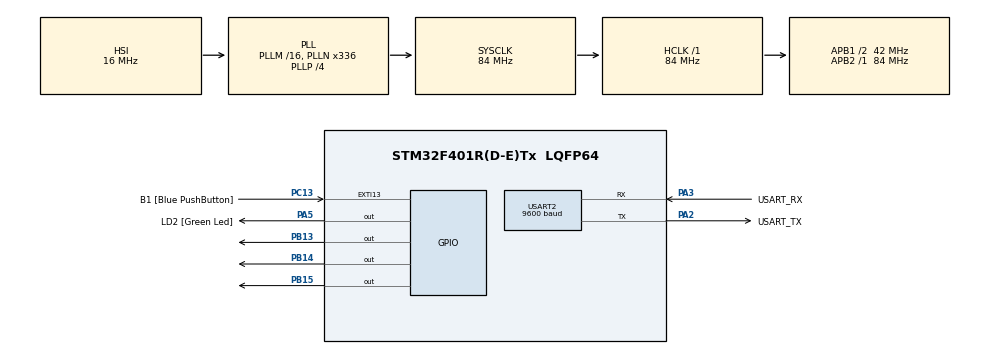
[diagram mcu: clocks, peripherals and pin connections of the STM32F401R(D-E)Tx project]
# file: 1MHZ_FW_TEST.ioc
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Mcu.Family=STM32F4
Mcu.Name=STM32F401R(D-E)Tx
Mcu.Package=LQFP64
NVIC.PriorityGroup=NVIC_PRIORITYGROUP_4
NVIC.USART2_IRQn=true\:0\:0\:false\:false\:true\:true\:true\:true
PA13.GPIO_Label=TMS
PA13.Mode=Trace_Asynchronous_SW
PA13.Signal=SYS_JTMS-SWDIO
PA14.GPIO_Label=TCK
PA14.Mode=Trace_Asynchronous_SW
PA14.Signal=SYS_JTCK-SWCLK
PA2.GPIO_Label=USART_TX
PA2.GPIO_Mode=GPIO_MODE_AF_PP
PA2.GPIO_PuPd=GPIO_NOPULL
PA2.GPIO_Speed=GPIO_SPEED_FREQ_LOW
PA2.Mode=Asynchronous
PA2.Signal=USART2_TX
PA3.GPIO_Label=USART_RX
PA3.GPIO_Mode=GPIO_MODE_AF_PP
PA3.GPIO_PuPd=GPIO_NOPULL
PA3.GPIO_Speed=GPIO_SPEED_FREQ_LOW
PA3.Mode=Asynchronous
PA3.Signal=USART2_RX
PA5.GPIO_Label=LD2 [Green Led]
PA5.GPIO_Mode=GPIO_MODE_OUTPUT_PP
PA5.GPIO_PuPd=GPIO_NOPULL
PA5.GPIO_Speed=GPIO_SPEED_FREQ_LOW
PA5.Signal=GPIO_Output
PB13.Signal=GPIO_Output
PB14.Signal=GPIO_Output
PB15.Signal=GPIO_Output
PB3.GPIO_Label=SWO
PB3.Mode=Trace_Asynchronous_SW
PB3.Signal=SYS_JTDO-SWO
PC13-ANTI_TAMP.GPIO_Label=B1 [Blue PushButton]
PC13-ANTI_TAMP.GPIO_ModeDefaultEXTI=GPIO_MODE_IT_FALLING
PC13-ANTI_TAMP.GPIO_PuPd=GPIO_NOPULL
PC13-ANTI_TAMP.Signal=GPXTI13
PC14-OSC32_IN.Mode=LSE-External-Oscillator
PC14-OSC32_IN.Signal=RCC_OSC32_IN
PC15-OSC32_OUT.Mode=LSE-External-Oscillator
PC15-OSC32_OUT.Signal=RCC_OSC32_OUT
PH0\ -\ OSC_IN.Mode=HSE-External-Clock-Source
PH0\ -\ OSC_IN.Signal=RCC_OSC_IN
PH1\ -\ OSC_OUT.Mode=HSE-External-Clock-Source
PH1\ -\ OSC_OUT.Signal=RCC_OSC_OUT
ProjectManager.HeapSize=0x200
ProjectManager.StackSize=0x400
ProjectManager.TargetToolchain=STM32CubeIDE
RCC.48MHZClocksFreq_Value=48000000
RCC.AHBFreq_Value=84000000
RCC.APB1CLKDivider=RCC_HCLK_DIV2
RCC.APB1Freq_Value=42000000
RCC.APB1TimFreq_Value=84000000
RCC.APB2Freq_Value=84000000
RCC.APB2TimFreq_Value=84000000
RCC.CortexFreq_Value=84000000
RCC.HCLKFreq_Value=84000000
RCC.HSE_VALUE=8000000
RCC.HSI_VALUE=16000000
RCC.PLLN=336
RCC.PLLP=RCC_PLLP_DIV4
RCC.PLLQ=7
RCC.SYSCLKFreq_VALUE=84000000
RCC.SYSCLKSource=RCC_SYSCLKSOURCE_PLLCLK
RCC.VCOOutputFreq_Value=336000000
USART2.BaudRate=9600
USART2.VirtualMode=VM_ASYNC
board=NUCLEO-F401RE

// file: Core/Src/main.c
/* USER CODE BEGIN Header */
/**
  ******************************************************************************
  * @file           : main.c
  * @brief          : Main program body
  ******************************************************************************
  * @attention
  *
  * Copyright (c) 2025 STMicroelectronics.
  * All rights reserved.
  *
  * This software is licensed under terms that can be found in the LICENSE file
  * in the root directory of this software component.
  * If no LICENSE file comes with this software, it is provided AS-IS.
  *
  ******************************************************************************
  */
/* USER CODE END Header */
#include "main.h"

/* USER CODE BEGIN Includes */
#include "AD9833.h"
#include "string.h"
#include <stdlib.h>
#include <stdio.h>
/* USER CODE END Includes */

UART_HandleTypeDef huart2;

/* USER CODE BEGIN PV */

uint8_t rx_data[1];        // buffer temporal de recepción
uint8_t rx_buffer[32];     // buffer donde vamos acumulando
uint8_t rx_index = 0;      // índice de escritura
uint8_t final_data[32];
int change_frequency = 0;
float final_freq = 0.0;
char buffer[50];
/* USER CODE END PV */

void SystemClock_Config(void);
static void MX_GPIO_Init(void);
static void MX_USART2_UART_Init(void);
/* USER CODE BEGIN PFP */
void HAL_UART_RxCpltCallback(UART_HandleTypeDef *huart)
{
    if (huart->Instance == USART2)  // <- MUY IMPORTANTE
    {
    	memcpy(rx_buffer+rx_index,rx_data,1);
    	rx_index++;
    	if(rx_index >=sizeof(rx_buffer)) rx_index=0;
    	change_frequency=1;
        HAL_UART_Receive_IT(&huart2, rx_data, 1);  // volver a activar recepción
    }
}
/* USER CODE END PFP */

int main(void)
{

  /* MCU Configuration--------------------------------------------------------*/

  /* Reset of all peripherals, Initializes the Flash interface and the Systick. */
  HAL_Init();

  /* Configure the system clock */
  SystemClock_Config();

  /* Initialize all configured peripherals */
  MX_GPIO_Init();
  MX_USART2_UART_Init();
  /* USER CODE BEGIN 2 */

  HAL_UART_Receive_IT(&huart2, rx_data, 1);

  AD9833_Init(SQR, 1000.0, 0.0);
  /* USER CODE END 2 */

  /* Infinite loop */
  while (1)
  {
	  if(rx_data[0]=='\n'){
		  final_data[0]='\0';
		  memcpy(final_data,rx_buffer,rx_index);
		  final_freq = atof((char (*)) final_data);
		  sprintf(buffer, "Freq: %.f Hz\r\n", final_freq);
		  HAL_UART_Transmit(&huart2, (uint8_t*)buffer, strlen(buffer), HAL_MAX_DELAY);
		  HAL_UART_Transmit(&huart2, final_data, sizeof(final_data), 100);
		  rx_data[0]='\0';
	  }
  }
}

void SystemClock_Config(void)
{
  RCC_OscInitTypeDef RCC_OscInitStruct = {0};
  RCC_ClkInitTypeDef RCC_ClkInitStruct = {0};

  /** Configure the main internal regulator output voltage
  */
  __HAL_RCC_PWR_CLK_ENABLE();
  __HAL_PWR_VOLTAGESCALING_CONFIG(PWR_REGULATOR_VOLTAGE_SCALE2);

  /** Initializes the RCC Oscillators according to the specified parameters
  * in the RCC_OscInitTypeDef structure.
  */
  RCC_OscInitStruct.OscillatorType = RCC_OSCILLATORTYPE_HSI;
  RCC_OscInitStruct.HSIState = RCC_HSI_ON;
  RCC_OscInitStruct.HSICalibrationValue = RCC_HSICALIBRATION_DEFAULT;
  RCC_OscInitStruct.PLL.PLLState = RCC_PLL_ON;
  RCC_OscInitStruct.PLL.PLLSource = RCC_PLLSOURCE_HSI;
  RCC_OscInitStruct.PLL.PLLM = 16;
  RCC_OscInitStruct.PLL.PLLN = 336;
  RCC_OscInitStruct.PLL.PLLP = RCC_PLLP_DIV4;
  RCC_OscInitStruct.PLL.PLLQ = 7;
  if (HAL_RCC_OscConfig(&RCC_OscInitStruct) != HAL_OK)
  {
    Error_Handler();
  }

  /** Initializes the CPU, AHB and APB buses clocks
  */
  RCC_ClkInitStruct.ClockType = RCC_CLOCKTYPE_HCLK|RCC_CLOCKTYPE_SYSCLK
                              |RCC_CLOCKTYPE_PCLK1|RCC_CLOCKTYPE_PCLK2;
  RCC_ClkInitStruct.SYSCLKSource = RCC_SYSCLKSOURCE_PLLCLK;
  RCC_ClkInitStruct.AHBCLKDivider = RCC_SYSCLK_DIV1;
  RCC_ClkInitStruct.APB1CLKDivider = RCC_HCLK_DIV2;
  RCC_ClkInitStruct.APB2CLKDivider = RCC_HCLK_DIV1;

  if (HAL_RCC_ClockConfig(&RCC_ClkInitStruct, FLASH_LATENCY_2) != HAL_OK)
  {
    Error_Handler();
  }
}

static void MX_USART2_UART_Init(void)
{

  huart2.Instance = USART2;
  huart2.Init.BaudRate = 9600;
  huart2.Init.WordLength = UART_WORDLENGTH_8B;
  huart2.Init.StopBits = UART_STOPBITS_1;
  huart2.Init.Parity = UART_PARITY_NONE;
  huart2.Init.Mode = UART_MODE_TX_RX;
  huart2.Init.HwFlowCtl = UART_HWCONTROL_NONE;
  huart2.Init.OverSampling = UART_OVERSAMPLING_16;
  if (HAL_UART_Init(&huart2) != HAL_OK)
  {
    Error_Handler();
  }

}

static void MX_GPIO_Init(void)
{
  GPIO_InitTypeDef GPIO_InitStruct = {0};

  /* GPIO Ports Clock Enable */
  __HAL_RCC_GPIOC_CLK_ENABLE();
  __HAL_RCC_GPIOH_CLK_ENABLE();
  __HAL_RCC_GPIOA_CLK_ENABLE();
  __HAL_RCC_GPIOB_CLK_ENABLE();

  /*Configure GPIO pin Output Level */
  HAL_GPIO_WritePin(LD2_GPIO_Port, LD2_Pin, GPIO_PIN_RESET);

  /*Configure GPIO pin Output Level */
  HAL_GPIO_WritePin(GPIOB, GPIO_PIN_13|GPIO_PIN_14|GPIO_PIN_15, GPIO_PIN_RESET);

  /*Configure GPIO pin : B1_Pin */
  GPIO_InitStruct.Pin = B1_Pin;
  GPIO_InitStruct.Mode = GPIO_MODE_IT_FALLING;
  GPIO_InitStruct.Pull = GPIO_NOPULL;
  HAL_GPIO_Init(B1_GPIO_Port, &GPIO_InitStruct);

  /*Configure GPIO pin : LD2_Pin */
  GPIO_InitStruct.Pin = LD2_Pin;
  GPIO_InitStruct.Mode = GPIO_MODE_OUTPUT_PP;
  GPIO_InitStruct.Pull = GPIO_NOPULL;
  GPIO_InitStruct.Speed = GPIO_SPEED_FREQ_LOW;
  HAL_GPIO_Init(LD2_GPIO_Port, &GPIO_InitStruct);

  /*Configure GPIO pins : PB13 PB14 PB15 */
  GPIO_InitStruct.Pin = GPIO_PIN_13|GPIO_PIN_14|GPIO_PIN_15;
  GPIO_InitStruct.Mode = GPIO_MODE_OUTPUT_PP;
  GPIO_InitStruct.Pull = GPIO_NOPULL;
  GPIO_InitStruct.Speed = GPIO_SPEED_FREQ_LOW;
  HAL_GPIO_Init(GPIOB, &GPIO_InitStruct);

}

void Error_Handler(void)
{
  __disable_irq();
  while (1)
  {
  }
}
